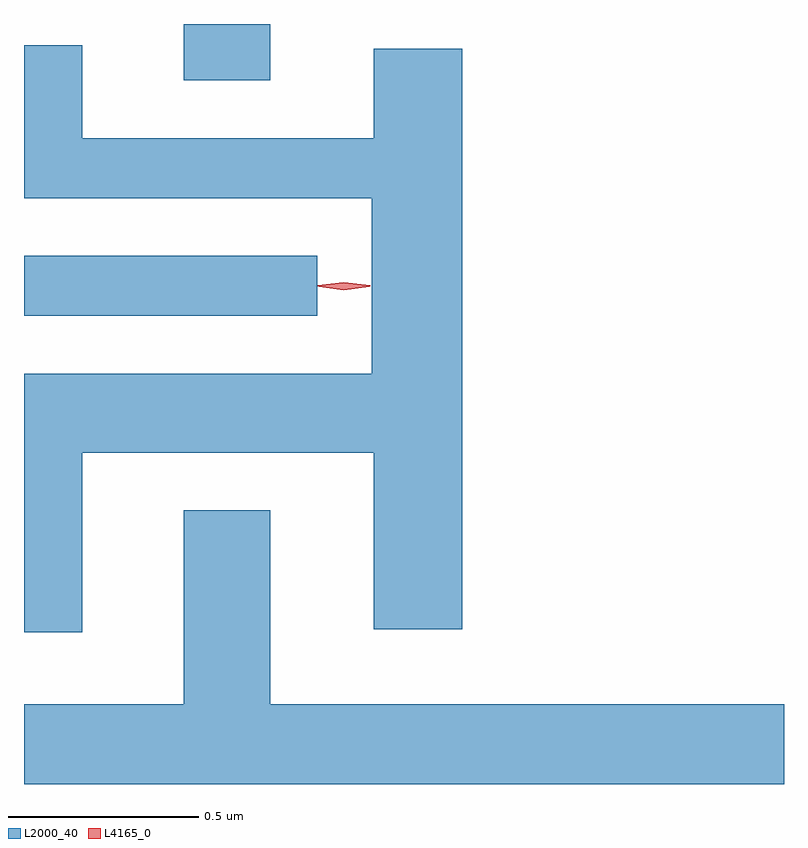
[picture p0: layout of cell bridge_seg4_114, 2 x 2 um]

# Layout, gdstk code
import gdstk
lib = gdstk.Library(unit=1e-6, precision=1e-09)
def R(c, l, rs):  # rectangles x0, y0, x1, y1
    for r in rs: c.add(gdstk.rectangle(r[:2], r[2:], *l))
def P(c, l, *ps):  # polygons
    for p in ps: c.add(gdstk.Polygon(p, *l))
L2000_40 = (2000, 40)
L4165_0 = (4165, 0)

bridge_seg4_114 = lib.new_cell('bridge_seg4_114')
R(bridge_seg4_114, L2000_40, [(880.341,1369.286,881.113,1369.444), (880.761,1369.906,880.989,1370.054)])
P(bridge_seg4_114, L2000_40, [(880.494,1368.926),(881.261,1368.926),(881.261,1368.461),(881.494,1368.461),(881.494,1369.989),(881.261,1369.989),(881.261,1369.754),(880.494,1369.754),(880.494,1369.998),(880.341,1369.998),(880.341,1369.596),(881.256,1369.596),(881.256,1369.134),(880.341,1369.134),(880.341,1368.453),(880.494,1368.453)],
  [(882.341,1368.264),(880.989,1368.264),(880.989,1368.774),(880.761,1368.774),(880.761,1368.264),(880.341,1368.264),(880.341,1368.054),(882.341,1368.054)])
P(bridge_seg4_114, L4165_0, [(881.183,1369.355),(881.114,1369.364),(881.114,1369.365),(881.114,1369.366),(881.183,1369.375),(881.252,1369.366),(881.252,1369.365),(881.252,1369.364)],
  [(881.183,1369.353),(881.118,1369.362),(881.117,1369.363),(881.118,1369.363),(881.183,1369.373),(881.249,1369.363),(881.249,1369.363),(881.249,1369.362)])

lib.write_gds('bridge_seg4_114.gds')
